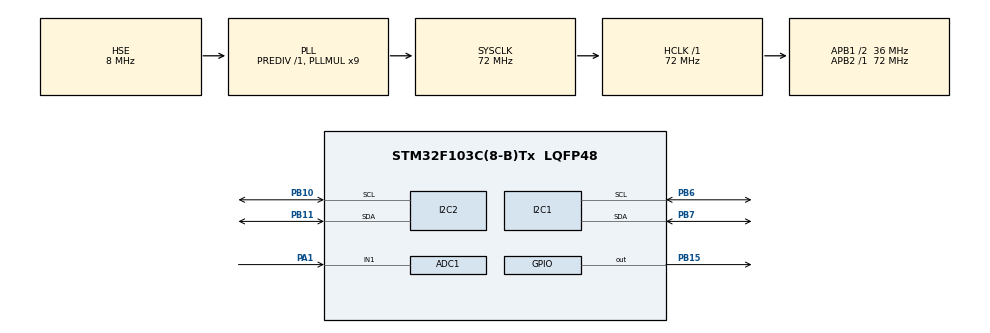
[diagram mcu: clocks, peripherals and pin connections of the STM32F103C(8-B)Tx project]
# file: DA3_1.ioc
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ADC1.Channel-0\#ChannelRegularConversion=ADC_CHANNEL_1
ADC1.NbrOfConversion=1
ADC1.NbrOfConversionFlag=1
ADC1.Rank-0\#ChannelRegularConversion=1
ADC1.SamplingTime-0\#ChannelRegularConversion=ADC_SAMPLETIME_239CYCLES_5
ADC1.master=1
Mcu.Family=STM32F1
Mcu.Name=STM32F103C(8-B)Tx
Mcu.Package=LQFP48
NVIC.PriorityGroup=NVIC_PRIORITYGROUP_4
NVIC.TIM2_IRQn=true\:0\:0\:false\:false\:true\:true\:true
PA1.Signal=ADCx_IN1
PA13.Mode=Serial_Wire
PA13.Signal=SYS_JTMS-SWDIO
PA14.Mode=Serial_Wire
PA14.Signal=SYS_JTCK-SWCLK
PB10.Mode=I2C
PB10.Signal=I2C2_SCL
PB11.Mode=I2C
PB11.Signal=I2C2_SDA
PB15.Signal=GPIO_Output
PB6.Mode=I2C
PB6.Signal=I2C1_SCL
PB7.Mode=I2C
PB7.Signal=I2C1_SDA
PD0-OSC_IN.Mode=HSE-External-Oscillator
PD0-OSC_IN.Signal=RCC_OSC_IN
PD1-OSC_OUT.Mode=HSE-External-Oscillator
PD1-OSC_OUT.Signal=RCC_OSC_OUT
ProjectManager.HeapSize=0x200
ProjectManager.StackSize=0x400
ProjectManager.TargetToolchain=MDK-ARM V5.27
RCC.ADCPresc=RCC_ADCPCLK2_DIV6
RCC.AHBFreq_Value=72000000
RCC.APB1CLKDivider=RCC_HCLK_DIV2
RCC.APB1Freq_Value=36000000
RCC.APB1TimFreq_Value=72000000
RCC.APB2Freq_Value=72000000
RCC.APB2TimFreq_Value=72000000
RCC.HCLKFreq_Value=72000000
RCC.PLLMUL=RCC_PLL_MUL9
RCC.PLLSourceVirtual=RCC_PLLSOURCE_HSE
RCC.SYSCLKFreq_VALUE=72000000
RCC.SYSCLKSource=RCC_SYSCLKSOURCE_PLLCLK
RCC.USBFreq_Value=72000000
SH.ADCx_IN1.0=ADC1_IN1,IN1
TIM2.AutoReloadPreload=TIM_AUTORELOAD_PRELOAD_ENABLE
TIM2.Period=0xffff-1
TIM2.Prescaler=71
VP_TIM2_VS_ClockSourceINT.Mode=Internal
board=custom

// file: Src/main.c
/* USER CODE BEGIN Header */
/**
  ******************************************************************************
  * @file           : main.c
  * @brief          : Main program body
  ******************************************************************************
  * @attention
  *
  * <h2><center>&copy; Copyright (c) 2021 STMicroelectronics.
  * All rights reserved.</center></h2>
  *
  * This software component is licensed by ST under BSD 3-Clause license,
  * the "License"; You may not use this file except in compliance with the
  * License. You may obtain a copy of the License at:
  *                        opensource.org/licenses/BSD-3-Clause
  *
  ******************************************************************************
  */
/* USER CODE END Header */

#include "main.h"

/* USER CODE BEGIN Includes */
#include "stdio.h"
#include "i2c-lcd.h"
#include "Time.h"
/* USER CODE END Includes */

/* USER CODE BEGIN PD */
#define DHT12_ADD 0x5C

#define COV_RATIO         0.2  // 0,2 ug/mm3/mv
#define NO_DUST_VOLTAGE   400  // No dust, dien ap = 400 mv
#define SYS_VOLTAGE       3300  // dien ap he thong

#define ILED_Pin GPIO_PIN_15    // chan B15 digital output
#define ILED_GPIO_Port GPIOB
#define AOUT_Pin GPIO_PIN_1			// chan A1 analog input
#define AOUT_GPIO_Port GPIOA
/* USER CODE END PD */

ADC_HandleTypeDef hadc1;

I2C_HandleTypeDef hi2c1;
I2C_HandleTypeDef hi2c2;

TIM_HandleTypeDef htim2;

void SystemClock_Config(void);
static void MX_GPIO_Init(void);
static void MX_I2C1_Init(void);
static void MX_I2C2_Init(void);
static void MX_ADC1_Init(void);
static void MX_TIM2_Init(void);

/* USER CODE BEGIN 0 */
void Delay_us(uint16_t us)
{
	__HAL_TIM_SET_COUNTER(&htim2,0);
	while(__HAL_TIM_GET_COUNTER(&htim2) < us);
}

/* USER CODE END 0 */

int main(void)
{

  /* MCU Configuration--------------------------------------------------------*/

  /* Reset of all peripherals, Initializes the Flash interface and the Systick. */
  HAL_Init();

  /* Configure the system clock */
  SystemClock_Config();

  /* Initialize all configured peripherals */
  MX_GPIO_Init();
  MX_I2C1_Init();
  MX_I2C2_Init();
  MX_ADC1_Init();
  MX_TIM2_Init();
  /* USER CODE BEGIN 2 */
	char buff[20];
	uint8_t Temp[8];
	float humidity;
	float temperature;

	float density = 0;
	float	voltage = 0;
	float adcvalue[2];

	lcd_init();
	HAL_ADC_Start_IT(&hadc1);
  /* USER CODE END 2 */

  /* Infinite loop */
  while (1)
  {

    /* USER CODE BEGIN 3 */

			//lcd_send_cmd(0x80|0x00);
			//HAL_I2C_Mem_Read(&hi2c1,DHT12_ADD<<1,0x00,I2C_MEMADD_SIZE_8BIT,Temp,5,2000);

			lcd_send_cmd(0x80|0x14);
			HAL_GPIO_WritePin(GPIOB,GPIO_PIN_15,GPIO_PIN_SET);
			Delay_us(280);
			HAL_ADC_Start(&hadc1);
			HAL_ADC_PollForConversion(&hadc1,100);
			adcvalue[0] = HAL_ADC_GetValue(&hadc1);
			HAL_ADC_Stop(&hadc1);
			HAL_GPIO_WritePin(GPIOB,GPIO_PIN_15,GPIO_PIN_RESET);
			sprintf(buff,"ADCVal: %.4f mV",adcvalue[0]);
			lcd_send_string(buff);

			/*if(Temp[4] == Temp[0] + Temp[1] + Temp[2] + Temp[3])
			{
				humidity = (float)(Temp[0] + (float)Temp[1]/10);
				temperature = (float)(Temp[2] + (float)(Temp[3]&0x7f)/10); //0x7f = 0111 1111

				if(Temp[3]&0x80) //0x80 = check bit 1000 1111 & 1000 0000 = 1000 0000
				{
					temperature = -temperature;
				}
				else
				{
					//do nothing
				}

				lcd_send_cmd(0x80|0x00);
				sprintf(buff,"Humidity: %.2f%%RH",humidity);
				lcd_send_string(buff);

				lcd_send_cmd(0x80|0x40);
				sprintf(buff,"Temperature: %.2f%cC",temperature,0xdf);
				lcd_send_string(buff);

			}
			else
			{
				lcd_send_cmd(0x80|0x54);
				lcd_send_string("error");
			}*/

			// Dust sensor
			//dust led digital on

			HAL_Delay(1000);

			/*lcd_send_cmd(0x80|0x54);
			sprintf(buff,"density: %.2f",density);
			lcd_send_string(buff);*/

			//Time_Count();

  }
  /* USER CODE END 3 */
}

void SystemClock_Config(void)
{
  RCC_OscInitTypeDef RCC_OscInitStruct = {0};
  RCC_ClkInitTypeDef RCC_ClkInitStruct = {0};
  RCC_PeriphCLKInitTypeDef PeriphClkInit = {0};

  /** Initializes the CPU, AHB and APB busses clocks
  */
  RCC_OscInitStruct.OscillatorType = RCC_OSCILLATORTYPE_HSE;
  RCC_OscInitStruct.HSEState = RCC_HSE_ON;
  RCC_OscInitStruct.HSEPredivValue = RCC_HSE_PREDIV_DIV1;
  RCC_OscInitStruct.HSIState = RCC_HSI_ON;
  RCC_OscInitStruct.PLL.PLLState = RCC_PLL_ON;
  RCC_OscInitStruct.PLL.PLLSource = RCC_PLLSOURCE_HSE;
  RCC_OscInitStruct.PLL.PLLMUL = RCC_PLL_MUL9;
  if (HAL_RCC_OscConfig(&RCC_OscInitStruct) != HAL_OK)
  {
    Error_Handler();
  }
  /** Initializes the CPU, AHB and APB busses clocks
  */
  RCC_ClkInitStruct.ClockType = RCC_CLOCKTYPE_HCLK|RCC_CLOCKTYPE_SYSCLK
                              |RCC_CLOCKTYPE_PCLK1|RCC_CLOCKTYPE_PCLK2;
  RCC_ClkInitStruct.SYSCLKSource = RCC_SYSCLKSOURCE_PLLCLK;
  RCC_ClkInitStruct.AHBCLKDivider = RCC_SYSCLK_DIV1;
  RCC_ClkInitStruct.APB1CLKDivider = RCC_HCLK_DIV2;
  RCC_ClkInitStruct.APB2CLKDivider = RCC_HCLK_DIV1;

  if (HAL_RCC_ClockConfig(&RCC_ClkInitStruct, FLASH_LATENCY_2) != HAL_OK)
  {
    Error_Handler();
  }
  PeriphClkInit.PeriphClockSelection = RCC_PERIPHCLK_ADC;
  PeriphClkInit.AdcClockSelection = RCC_ADCPCLK2_DIV6;
  if (HAL_RCCEx_PeriphCLKConfig(&PeriphClkInit) != HAL_OK)
  {
    Error_Handler();
  }
}

static void MX_ADC1_Init(void)
{

  ADC_ChannelConfTypeDef sConfig = {0};

  /** Common config
  */
  hadc1.Instance = ADC1;
  hadc1.Init.ScanConvMode = ADC_SCAN_DISABLE;
  hadc1.Init.ContinuousConvMode = DISABLE;
  hadc1.Init.DiscontinuousConvMode = DISABLE;
  hadc1.Init.ExternalTrigConv = ADC_SOFTWARE_START;
  hadc1.Init.DataAlign = ADC_DATAALIGN_RIGHT;
  hadc1.Init.NbrOfConversion = 1;
  if (HAL_ADC_Init(&hadc1) != HAL_OK)
  {
    Error_Handler();
  }
  /** Configure Regular Channel
  */
  sConfig.Channel = ADC_CHANNEL_1;
  sConfig.Rank = ADC_REGULAR_RANK_1;
  sConfig.SamplingTime = ADC_SAMPLETIME_239CYCLES_5;
  if (HAL_ADC_ConfigChannel(&hadc1, &sConfig) != HAL_OK)
  {
    Error_Handler();
  }

}

static void MX_I2C1_Init(void)
{

  hi2c1.Instance = I2C1;
  hi2c1.Init.ClockSpeed = 100000;
  hi2c1.Init.DutyCycle = I2C_DUTYCYCLE_2;
  hi2c1.Init.OwnAddress1 = 0;
  hi2c1.Init.AddressingMode = I2C_ADDRESSINGMODE_7BIT;
  hi2c1.Init.DualAddressMode = I2C_DUALADDRESS_DISABLE;
  hi2c1.Init.OwnAddress2 = 0;
  hi2c1.Init.GeneralCallMode = I2C_GENERALCALL_DISABLE;
  hi2c1.Init.NoStretchMode = I2C_NOSTRETCH_DISABLE;
  if (HAL_I2C_Init(&hi2c1) != HAL_OK)
  {
    Error_Handler();
  }

}

static void MX_I2C2_Init(void)
{

  hi2c2.Instance = I2C2;
  hi2c2.Init.ClockSpeed = 100000;
  hi2c2.Init.DutyCycle = I2C_DUTYCYCLE_2;
  hi2c2.Init.OwnAddress1 = 0;
  hi2c2.Init.AddressingMode = I2C_ADDRESSINGMODE_7BIT;
  hi2c2.Init.DualAddressMode = I2C_DUALADDRESS_DISABLE;
  hi2c2.Init.OwnAddress2 = 0;
  hi2c2.Init.GeneralCallMode = I2C_GENERALCALL_DISABLE;
  hi2c2.Init.NoStretchMode = I2C_NOSTRETCH_DISABLE;
  if (HAL_I2C_Init(&hi2c2) != HAL_OK)
  {
    Error_Handler();
  }

}

static void MX_TIM2_Init(void)
{

  TIM_ClockConfigTypeDef sClockSourceConfig = {0};
  TIM_MasterConfigTypeDef sMasterConfig = {0};

  htim2.Instance = TIM2;
  htim2.Init.Prescaler = 71;
  htim2.Init.CounterMode = TIM_COUNTERMODE_UP;
  htim2.Init.Period = 0xffff-1;
  htim2.Init.ClockDivision = TIM_CLOCKDIVISION_DIV1;
  htim2.Init.AutoReloadPreload = TIM_AUTORELOAD_PRELOAD_ENABLE;
  if (HAL_TIM_Base_Init(&htim2) != HAL_OK)
  {
    Error_Handler();
  }
  sClockSourceConfig.ClockSource = TIM_CLOCKSOURCE_INTERNAL;
  if (HAL_TIM_ConfigClockSource(&htim2, &sClockSourceConfig) != HAL_OK)
  {
    Error_Handler();
  }
  sMasterConfig.MasterOutputTrigger = TIM_TRGO_RESET;
  sMasterConfig.MasterSlaveMode = TIM_MASTERSLAVEMODE_DISABLE;
  if (HAL_TIMEx_MasterConfigSynchronization(&htim2, &sMasterConfig) != HAL_OK)
  {
    Error_Handler();
  }

}

static void MX_GPIO_Init(void)
{
  GPIO_InitTypeDef GPIO_InitStruct = {0};

  /* GPIO Ports Clock Enable */
  __HAL_RCC_GPIOD_CLK_ENABLE();
  __HAL_RCC_GPIOA_CLK_ENABLE();
  __HAL_RCC_GPIOB_CLK_ENABLE();

  /*Configure GPIO pin Output Level */
  HAL_GPIO_WritePin(GPIOB, GPIO_PIN_15, GPIO_PIN_RESET);

  /*Configure GPIO pin : PB15 */
  GPIO_InitStruct.Pin = GPIO_PIN_15;
  GPIO_InitStruct.Mode = GPIO_MODE_OUTPUT_PP;
  GPIO_InitStruct.Pull = GPIO_NOPULL;
  GPIO_InitStruct.Speed = GPIO_SPEED_FREQ_LOW;
  HAL_GPIO_Init(GPIOB, &GPIO_InitStruct);

}

void Error_Handler(void)
{
}

/************************ (C) COPYRIGHT STMicroelectronics *****END OF FILE****/
